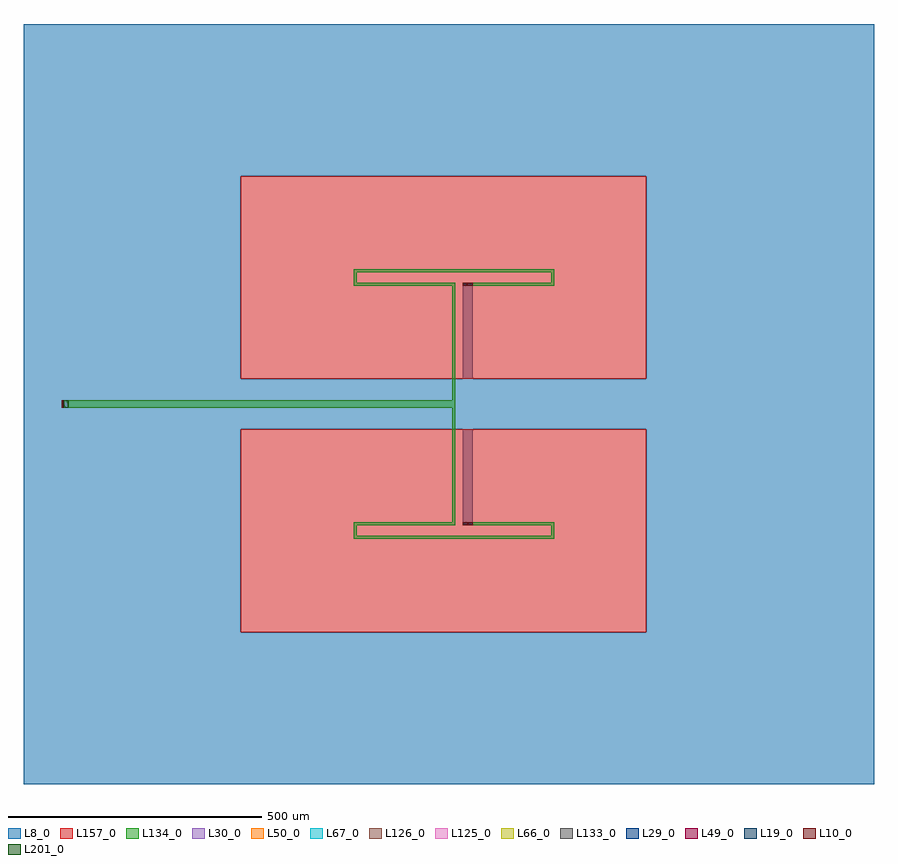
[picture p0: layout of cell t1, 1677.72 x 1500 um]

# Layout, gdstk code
import gdstk
lib = gdstk.Library(unit=1e-6, precision=1e-09)
def R(c, l, rs):  # rectangles x0, y0, x1, y1
    for r in rs: c.add(gdstk.rectangle(r[:2], r[2:], *l))
def P(c, l, *ps):  # polygons
    for p in ps: c.add(gdstk.Polygon(p, *l))
L8_0 = (8, 0)
L10_0 = (10, 0)
L19_0 = (19, 0)
L29_0 = (29, 0)
L30_0 = (30, 0)
L49_0 = (49, 0)
L50_0 = (50, 0)
L66_0 = (66, 0)
L67_0 = (67, 0)
L125_0 = (125, 0)
L126_0 = (126, 0)
L133_0 = (133, 0)
L134_0 = (134, 0)
L157_0 = (157, 0)
L201_0 = (201, 0)

c_t1 = lib.new_cell('t1')
P(c_t1, L8_0, [(-427.72,-750),(-427.72,750),(0,750),(0,450),(0,50),(438.5,50),(438.5,239.5),(458.5,239.5),(458.5,50),(458.5,-50),(458.5,-239.5),(438.5,-239.5),(438.5,-50),(0,-50),(0,-450),(800,-450),(800,-50),(458.5,-50),(458.5,50),(800,50),(800,450),(0,450),(0,750),(1250,750),(1250,-750)])
R(c_t1, L10_0, [(438.5,-239.5,458.5,-233.5), (-353.66,-7.5,-349.12,7.5), (438.5,233.5,458.5,239.5)])
R(c_t1, L19_0, [(438.5,-239.5,458.5,-233.5), (-353.66,-7.5,-349.12,7.5), (438.5,233.5,458.5,239.5)])
R(c_t1, L29_0, [(438.5,-239.5,458.5,-233.5), (-353.66,-7.5,-349.12,7.5), (438.5,233.5,458.5,239.5)])
R(c_t1, L30_0, [(438.5,-239.5,458.5,-233.5), (438.5,-239.5,458.5,-233.5), (-353.66,-7.5,-349.12,7.5), (438.5,233.5,458.5,239.5), (438.5,233.5,458.5,239.5)])
R(c_t1, L49_0, [(438.5,-239.5,458.5,-233.5), (-353.66,-7.5,-349.12,7.5), (438.5,233.5,458.5,239.5)])
R(c_t1, L50_0, [(438.5,-239.5,458.5,-233.5), (438.5,-239.5,458.5,-233.5), (-353.66,-7.5,-349.12,7.5), (438.5,233.5,458.5,239.5), (438.5,233.5,458.5,239.5)])
R(c_t1, L66_0, [(438.5,-239.5,458.5,-233.5), (-353.66,-7.5,-349.12,7.5), (438.5,233.5,458.5,239.5)])
R(c_t1, L67_0, [(438.5,-239.5,458.5,-233.5), (438.5,-239.5,458.5,-233.5), (-353.66,-7.5,-349.12,7.5), (438.5,233.5,458.5,239.5), (438.5,233.5,458.5,239.5)])
R(c_t1, L125_0, [(438.5,-239.5,458.5,-233.5), (-353.66,-7.5,-349.12,7.5), (438.5,233.5,458.5,239.5)])
R(c_t1, L126_0, [(438.5,-239.5,458.5,-233.5), (438.5,-239.5,458.5,-233.5), (-353.66,-7.5,-349.12,7.5), (438.5,233.5,458.5,239.5), (438.5,233.5,458.5,239.5)])
R(c_t1, L133_0, [(438.5,-239.5,458.5,-233.5), (-353.66,-7.5,-349.12,7.5), (438.5,233.5,458.5,239.5)])
R(c_t1, L134_0, [(-353.66,-7.5,-349.12,7.5), (-339.98,-7.5,417.5,7.5)])
P(c_t1, L134_0, [(417.5,0),(417.5,233.5),(223,233.5),(223,266),(619,266),(619,233.5),(438.5,233.5),(438.5,239.5),(613,239.5),(613,260),(229,260),(229,239.5),(423.5,239.5),(423.5,0)],
  [(223,-266),(223,-233.5),(417.5,-233.5),(417.5,0),(423.5,0),(423.5,-239.5),(229,-239.5),(229,-260),(613,-260),(613,-239.5),(438.5,-239.5),(438.5,-233.5),(619,-233.5),(619,-266)])
R(c_t1, L157_0, [(0,-450,800,-50), (0,50,800,450)])
R(c_t1, L201_0, [(-349.12,-7.5,-339.98,7.5)])

lib.write_gds('t1.gds')
